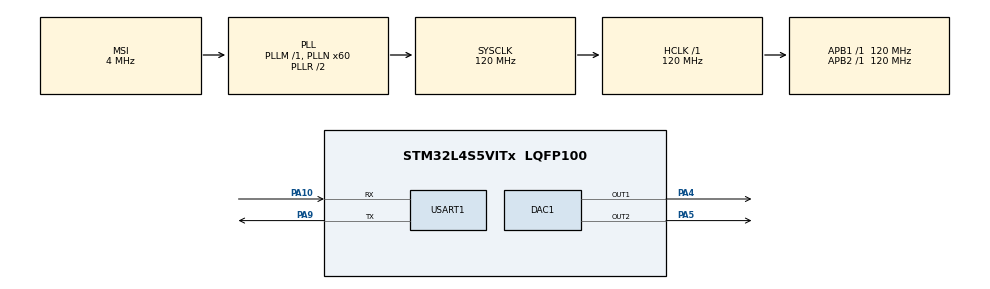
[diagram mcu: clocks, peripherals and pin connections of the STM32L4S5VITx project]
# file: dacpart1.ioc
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DAC1.DAC_Channel-DAC_OUT2=DAC_CHANNEL_2
Mcu.Family=STM32L4
Mcu.Name=STM32L4S5VITx
Mcu.Package=LQFP100
NVIC.PriorityGroup=NVIC_PRIORITYGROUP_4
PA10.Mode=Asynchronous
PA10.Signal=USART1_RX
PA13\ (JTMS/SWDIO).Signal=SYS_JTMS-SWDIO
PA4.Signal=COMP_DAC11_group
PA5.Signal=COMP_DAC12_group
PA9.Mode=Asynchronous
PA9.Signal=USART1_TX
PB3\ (JTDO/TRACESWO).Signal=SYS_JTDO-SWO
ProjectManager.HeapSize=0x200
ProjectManager.StackSize=0x400
ProjectManager.TargetToolchain=STM32CubeIDE
RCC.ADCFreq_Value=48000000
RCC.AHBFreq_Value=120000000
RCC.APB1Freq_Value=120000000
RCC.APB1TimFreq_Value=120000000
RCC.APB2Freq_Value=120000000
RCC.APB2TimFreq_Value=120000000
RCC.CortexFreq_Value=120000000
RCC.HCLKFreq_Value=120000000
RCC.HSE_VALUE=8000000
RCC.HSI48_VALUE=48000000
RCC.HSI_VALUE=16000000
RCC.LSE_VALUE=32768
RCC.MSI_VALUE=4000000
RCC.PLLN=60
RCC.PLLSAI1N=24
RCC.SYSCLKFreq_VALUE=120000000
RCC.SYSCLKSource=RCC_SYSCLKSOURCE_PLLCLK
RCC.USBFreq_Value=48000000
RCC.VCOOutputFreq_Value=240000000
SH.COMP_DAC11_group.0=DAC1_OUT1,DAC_OUT1
SH.COMP_DAC12_group.0=DAC1_OUT2,DAC_OUT2
TIM2.Period=2000
TIM2.Prescaler=60000
USART1.VirtualMode-Asynchronous=VM_ASYNC
VP_TIM2_VS_ClockSourceINT.Mode=Internal
board=B-L4S5I-IOT01A

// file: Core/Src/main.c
/* USER CODE BEGIN Header */
/**
  ******************************************************************************
  * @file           : main.c
  * @brief          : Main program body
  ******************************************************************************
  * @attention
  *
  * <h2><center>&copy; Copyright (c) 2021 STMicroelectronics.
  * All rights reserved.</center></h2>
  *
  * This software component is licensed by ST under BSD 3-Clause license,
  * the "License"; You may not use this file except in compliance with the
  * License. You may obtain a copy of the License at:
  *                        opensource.org/licenses/BSD-3-Clause
  *
  ******************************************************************************
  */
/* USER CODE END Header */
#include "main.h"

/* USER CODE BEGIN Includes */
#include "math.h"
#include "arm_math.h"
/* USER CODE END Includes */

/* USER CODE BEGIN PD */
//pi to 100 decimal places
#define pi 3.1415926535897932384626433832795028841971693993751058209749445923078164062862089986280348253421170679
/* USER CODE END PD */

DAC_HandleTypeDef hdac1;

TIM_HandleTypeDef htim2;

UART_HandleTypeDef huart1;

void SystemClock_Config(void);
static void MX_GPIO_Init(void);
static void MX_DAC1_Init(void);
static void MX_TIM2_Init(void);
static void MX_USART1_UART_Init(void);

/* USER CODE BEGIN 0 */

// function for generating a triangle wave from an inputed frequency in Hz, x is the independent variable
uint8_t triangle_wave(float frequency, int x){
	float period = 1000/frequency; //1000ms
	uint8_t y;
	//float y = (2*amplitude/pi)*asin(sin(2*pi*(float)x/period));
	float modulus = fmod(x,period)/period;
	if (modulus<0.5){ //ascending slope for half period
		y = (uint8_t)(510*modulus);
	}else{ //descending slope for half period
		modulus = modulus-0.5;
		y = (uint8_t)(255-510*modulus);
	}

	return y;
}

// function for generating a sawtooth wave from an inputed frequency in Hz, x is the independent variable
uint8_t sawtooth_wave(float frequency, int x){
	float period = 1000/frequency; //1000ms
	//float y = 2*(((float)x/period)-floor(((float)x/period)+0.5));
	float modulus = fmod(x,period)/period; //ascending slope every period
	uint8_t y = (uint8_t)(255*modulus);

	return y;
}

// function for generating a sine wave from an inputed frequency in Hz, x is the independent variable, encapsulates the cmsis sine function
uint8_t sine_wave(float frequency, int x){
	float period = 1000/frequency; //1000ms
	uint8_t y;
	float modulus = fmod(x,period)/period;
	float radians = 6.283185*modulus;
	radians = (arm_sin_f32(radians)+1)*127.5;
	y = (uint8_t)radians;

	return y;
}
/* USER CODE END 0 */

int main(void)
{

  /* MCU Configuration--------------------------------------------------------*/

  /* Reset of all peripherals, Initializes the Flash interface and the Systick. */
  HAL_Init();

  /* Configure the system clock */
  SystemClock_Config();

  /* Initialize all configured peripherals */
  MX_GPIO_Init();
  MX_DAC1_Init();
  MX_TIM2_Init();
  MX_USART1_UART_Init();
  /* USER CODE BEGIN 2 */

  int x = 0; //iterator/bootleg timer variable to increase every tick
  uint8_t triangle_current_value; //variable to hold triangle waves value to print to graph
  uint8_t sawtooth_current_value; //variable to hold sawtooth waves value to print to graph
  uint8_t sine_current_value; //variable to hold sine wave value to print to graph

  HAL_DAC_Start(&hdac1, DAC_CHANNEL_1);

  /* USER CODE END 2 */

  /* Infinite loop */
  while (1)
  {

    /* USER CODE BEGIN 3 */
	  triangle_current_value = triangle_wave(65, x);
	  sawtooth_current_value = sawtooth_wave(65, x);
	  sine_current_value = sine_wave(65,x);
	  HAL_DAC_SetValue(&hdac1, DAC_CHANNEL_1, DAC_ALIGN_8B_R, sine_current_value);
	  x++;
	  HAL_Delay(1); //1ms
  }
  /* USER CODE END 3 */
}

void SystemClock_Config(void)
{
  RCC_OscInitTypeDef RCC_OscInitStruct = {0};
  RCC_ClkInitTypeDef RCC_ClkInitStruct = {0};
  RCC_PeriphCLKInitTypeDef PeriphClkInit = {0};

  /** Configure the main internal regulator output voltage
  */
  if (HAL_PWREx_ControlVoltageScaling(PWR_REGULATOR_VOLTAGE_SCALE1_BOOST) != HAL_OK)
  {
    Error_Handler();
  }
  /** Initializes the RCC Oscillators according to the specified parameters
  * in the RCC_OscInitTypeDef structure.
  */
  RCC_OscInitStruct.OscillatorType = RCC_OSCILLATORTYPE_MSI;
  RCC_OscInitStruct.MSIState = RCC_MSI_ON;
  RCC_OscInitStruct.MSICalibrationValue = 0;
  RCC_OscInitStruct.MSIClockRange = RCC_MSIRANGE_6;
  RCC_OscInitStruct.PLL.PLLState = RCC_PLL_ON;
  RCC_OscInitStruct.PLL.PLLSource = RCC_PLLSOURCE_MSI;
  RCC_OscInitStruct.PLL.PLLM = 1;
  RCC_OscInitStruct.PLL.PLLN = 60;
  RCC_OscInitStruct.PLL.PLLP = RCC_PLLP_DIV2;
  RCC_OscInitStruct.PLL.PLLQ = RCC_PLLQ_DIV2;
  RCC_OscInitStruct.PLL.PLLR = RCC_PLLR_DIV2;
  if (HAL_RCC_OscConfig(&RCC_OscInitStruct) != HAL_OK)
  {
    Error_Handler();
  }
  /** Initializes the CPU, AHB and APB buses clocks
  */
  RCC_ClkInitStruct.ClockType = RCC_CLOCKTYPE_HCLK|RCC_CLOCKTYPE_SYSCLK
                              |RCC_CLOCKTYPE_PCLK1|RCC_CLOCKTYPE_PCLK2;
  RCC_ClkInitStruct.SYSCLKSource = RCC_SYSCLKSOURCE_PLLCLK;
  RCC_ClkInitStruct.AHBCLKDivider = RCC_SYSCLK_DIV1;
  RCC_ClkInitStruct.APB1CLKDivider = RCC_HCLK_DIV1;
  RCC_ClkInitStruct.APB2CLKDivider = RCC_HCLK_DIV1;

  if (HAL_RCC_ClockConfig(&RCC_ClkInitStruct, FLASH_LATENCY_5) != HAL_OK)
  {
    Error_Handler();
  }
  PeriphClkInit.PeriphClockSelection = RCC_PERIPHCLK_USART1;
  PeriphClkInit.Usart1ClockSelection = RCC_USART1CLKSOURCE_PCLK2;
  if (HAL_RCCEx_PeriphCLKConfig(&PeriphClkInit) != HAL_OK)
  {
    Error_Handler();
  }
}

static void MX_DAC1_Init(void)
{

  DAC_ChannelConfTypeDef sConfig = {0};

  /** DAC Initialization
  */
  hdac1.Instance = DAC1;
  if (HAL_DAC_Init(&hdac1) != HAL_OK)
  {
    Error_Handler();
  }
  /** DAC channel OUT1 config
  */
  sConfig.DAC_SampleAndHold = DAC_SAMPLEANDHOLD_DISABLE;
  sConfig.DAC_Trigger = DAC_TRIGGER_NONE;
  sConfig.DAC_HighFrequency = DAC_HIGH_FREQUENCY_INTERFACE_MODE_DISABLE;
  sConfig.DAC_OutputBuffer = DAC_OUTPUTBUFFER_ENABLE;
  sConfig.DAC_ConnectOnChipPeripheral = DAC_CHIPCONNECT_DISABLE;
  sConfig.DAC_UserTrimming = DAC_TRIMMING_FACTORY;
  if (HAL_DAC_ConfigChannel(&hdac1, &sConfig, DAC_CHANNEL_1) != HAL_OK)
  {
    Error_Handler();
  }
  /** DAC channel OUT2 config
  */
  sConfig.DAC_ConnectOnChipPeripheral = DAC_CHIPCONNECT_DISABLE;
  if (HAL_DAC_ConfigChannel(&hdac1, &sConfig, DAC_CHANNEL_2) != HAL_OK)
  {
    Error_Handler();
  }

}

static void MX_TIM2_Init(void)
{

  TIM_ClockConfigTypeDef sClockSourceConfig = {0};
  TIM_MasterConfigTypeDef sMasterConfig = {0};

  htim2.Instance = TIM2;
  htim2.Init.Prescaler = 60000;
  htim2.Init.CounterMode = TIM_COUNTERMODE_UP;
  htim2.Init.Period = 2000;
  htim2.Init.ClockDivision = TIM_CLOCKDIVISION_DIV1;
  htim2.Init.AutoReloadPreload = TIM_AUTORELOAD_PRELOAD_DISABLE;
  if (HAL_TIM_Base_Init(&htim2) != HAL_OK)
  {
    Error_Handler();
  }
  sClockSourceConfig.ClockSource = TIM_CLOCKSOURCE_INTERNAL;
  if (HAL_TIM_ConfigClockSource(&htim2, &sClockSourceConfig) != HAL_OK)
  {
    Error_Handler();
  }
  sMasterConfig.MasterOutputTrigger = TIM_TRGO_RESET;
  sMasterConfig.MasterSlaveMode = TIM_MASTERSLAVEMODE_DISABLE;
  if (HAL_TIMEx_MasterConfigSynchronization(&htim2, &sMasterConfig) != HAL_OK)
  {
    Error_Handler();
  }

}

static void MX_USART1_UART_Init(void)
{

  huart1.Instance = USART1;
  huart1.Init.BaudRate = 115200;
  huart1.Init.WordLength = UART_WORDLENGTH_8B;
  huart1.Init.StopBits = UART_STOPBITS_1;
  huart1.Init.Parity = UART_PARITY_NONE;
  huart1.Init.Mode = UART_MODE_TX_RX;
  huart1.Init.HwFlowCtl = UART_HWCONTROL_NONE;
  huart1.Init.OverSampling = UART_OVERSAMPLING_16;
  huart1.Init.OneBitSampling = UART_ONE_BIT_SAMPLE_DISABLE;
  huart1.Init.ClockPrescaler = UART_PRESCALER_DIV1;
  huart1.AdvancedInit.AdvFeatureInit = UART_ADVFEATURE_NO_INIT;
  if (HAL_UART_Init(&huart1) != HAL_OK)
  {
    Error_Handler();
  }
  if (HAL_UARTEx_SetTxFifoThreshold(&huart1, UART_TXFIFO_THRESHOLD_1_8) != HAL_OK)
  {
    Error_Handler();
  }
  if (HAL_UARTEx_SetRxFifoThreshold(&huart1, UART_RXFIFO_THRESHOLD_1_8) != HAL_OK)
  {
    Error_Handler();
  }
  if (HAL_UARTEx_DisableFifoMode(&huart1) != HAL_OK)
  {
    Error_Handler();
  }

}

static void MX_GPIO_Init(void)
{

  /* GPIO Ports Clock Enable */
  __HAL_RCC_GPIOA_CLK_ENABLE();
  __HAL_RCC_GPIOB_CLK_ENABLE();

}

void Error_Handler(void)
{
  __disable_irq();
  while (1)
  {
  }
}

/************************ (C) COPYRIGHT STMicroelectronics *****END OF FILE****/
